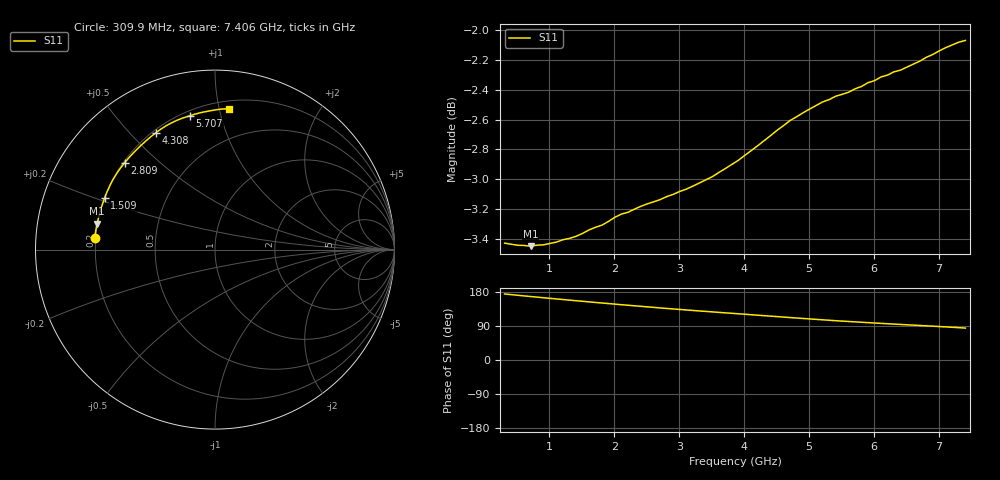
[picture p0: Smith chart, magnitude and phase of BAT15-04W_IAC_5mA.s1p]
! Infineon Technologies  Discrete & RF Semiconductors
! BAT15-04W-E6327
! IAC = 5 mA
! One-Port S-Parameters
# Hz  S  MA  R  50
!f  S11
!Hz  Mag  Ang
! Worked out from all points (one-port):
!   72 points, 309.9 MHz to 7.406 GHz, reference 50 ohm
!   lowest |S11| = -3.5 dB at 709.6 MHz (marker M1), VSWR 5.10, Z = 9.92 + j5.24 ohm
!   |S11| at or under -10 dB: nowhere
!   S11 on the Smith chart (normalised r, x): 309.9 MHz: 0.20, +0.05; 1.509 GHz: 0.20, +0.21; 2.809 GHz: 0.21, +0.39; 4.308 GHz: 0.21, +0.59; 5.707 GHz: 0.23, +0.80; 7.406 GHz: 0.26, +1.07
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3.0985e8  0.6737 174.3
6.097e8  0.6725 169.2
7.0965e8  0.6721 167.5
1.0095e9  0.6735 162.7
1.2094e9  0.6755 159.6
1.50925e9  0.6788 155.0
1.70915e9  0.682 151.9
2.10895e9  0.689 145.9
2.4088e9  0.6932 141.6
2.50875e9  0.6945 140.2
2.8086e9  0.6984 136.1
3.0085e9  0.7012 133.3
3.6082e9  0.7115 125.7
3.90805e9  0.7182 122.0
4.30785e9  0.7293 117.0
4.6077e9  0.7379 113.3
4.8076e9  0.7429 110.8
5.2074e9  0.7515 106.0
5.4073e9  0.7548 103.7
5.6072e9  0.7571 101.6
5.70715e9  0.7591 100.7
5.8071e9  0.7605 99.6
6.10695e9  0.7661 96.7
6.6067e9  0.7738 92.0
6.8066e9  0.7779 90.2
7.10645e9  0.7838 87.3
7.30635e9  0.7871 85.3
7.4063e9  0.7881 84.2
